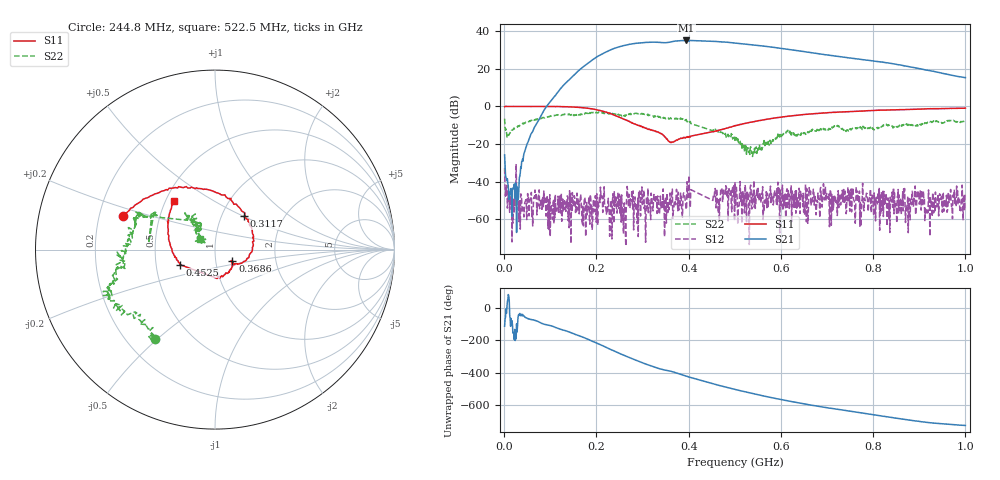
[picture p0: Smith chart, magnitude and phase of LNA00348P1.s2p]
! Created with skrf 1.9.0 (http://scikit-rf.org).
# Hz S RI R 50.0
!freq ReS11 ImS11 ReS21 ImS21 ReS12 ImS12 ReS22 ImS22
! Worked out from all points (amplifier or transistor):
!   954 points, 1 MHz to 1 GHz, reference 50 ohm
!   highest |S21| = 35.1 dB at 394.6 MHz (marker M1)
!   |S21| within 3 dB of that: 255.3 MHz to 562.7 MHz (307.4 MHz wide, 75.2 % of centre)
!   unconditionally stable (mu >= 1): 3.705 MHz to 67.79 MHz; 311.8 MHz to 400.5 MHz; 400.7 MHz to end of sweep (the widest 3 of 33)
!   at 159.8 MHz: K = 2.04, MAG = 31.0 dB, |S12| = -55.0 dB
!   at 524.5 MHz: K = 3.22, MAG = 33.8 dB, |S12| = -50.4 dB
!   at 1 GHz: K = 2.75, MAG = 23.8 dB, |S12| = -46.7 dB
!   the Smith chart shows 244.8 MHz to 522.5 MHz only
!   S11 on the Smith chart (normalised r, x): 244.8 MHz: 0.30, +0.16; 311.7 MHz: 1.27, +0.50; 368.6 MHz: 1.20, -0.16; 452.5 MHz: 0.66, -0.12; 522.5 MHz: 0.56, +0.34
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1000000  0.9794 0.00427  -0.0205 -0.0465  -0.0196 -0.0113  0.3353 0.3304
1.08892e8  0.5064 -0.8542  -0.8682 -1.611  0.00294 0.00171  0.4259 -0.3704
1.67833e8  -0.2557 -0.8885  -10.43 -0.3935  -0.00184 0.000354  0.0394 -0.6199
2.09791e8  -0.676 -0.3605  -15.7 18.08  -0.00277 -0.00341  -0.1903 -0.657
2.44756e8  -0.5146 0.1871  2.623 37.02  -0.000138 -0.00143  -0.3344 -0.4987
2.6074e8  -0.3238 0.313  17.14 38.35  -0.00152 -0.00222  -0.4064 -0.4052
2.76724e8  -0.1319 0.3481  31.3 33.46  -0.00555 0.00196  -0.5286 -0.3406
3.11689e8  0.1606 0.1854  49.86 7.879  -0.00397 -0.00528  -0.5891 -0.199
3.34666e8  0.2054 -0.0124  49.26 -12.14  0.000158 0.00171  -0.5116 -0.0497
3.68632e8  0.0969 -0.0652  43.33 -32.44  -0.00198 0.00175  -0.4475 0.1537
3.94606e8  0.0561 -0.1389  27.72 -49.69  -0.00132 0.00122  -0.4099 0.179
4.006e8  0.0125 -0.1502  20.56 -49.45  0.0131 -0.00595  -0.3695 0.0376
4.04596e8  0.0124 -0.161  19.66 -53.23  0.0024 0.00558  -0.3006 0.1786
4.52548e8  -0.1958 -0.0833  -16.68 -51.39  9.1e-06 0.00314  -0.1536 0.1634
4.56544e8  -0.2055 -0.0636  -19.41 -49.99  0.0052 0.00291  -0.1679 0.2051
5.005e8  -0.2649 0.1567  -39.01 -29.43  0.00761 0.00609  -0.0771 0.0982
5.22478e8  -0.2258 0.2718  -42.12 -17.53  0.00814 -0.000832  -0.084 0.0576
5.91409e8  0.0522 0.4981  -34.05 12.56  0.00244 -0.00599  -0.1365 -0.0661
6.67333e8  0.4051 0.4849  -13.07 23.17  -0.0028 0.000451  -0.2231 -0.0112
7.54246e8  0.6818 0.2741  2.828 18.92  -0.00275 -0.00554  -0.2463 0.0537
8.34166e8  0.8008 0.0155  9.763 10.32  -0.000897 -0.000448  -0.3158 0.0383
1e9  0.7306 -0.5224  5.815 -0.4875  -0.00348 0.00303  -0.2659 0.2983
